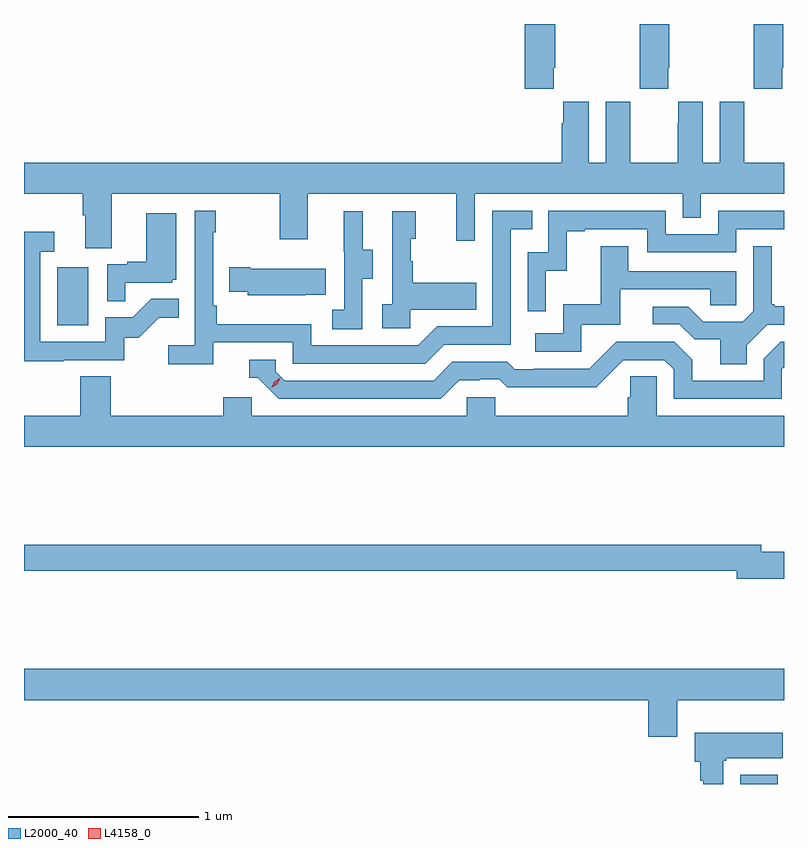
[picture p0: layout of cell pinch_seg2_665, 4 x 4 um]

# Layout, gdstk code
import gdstk
lib = gdstk.Library(unit=1e-6, precision=1e-09)
def R(c, l, rs):  # rectangles x0, y0, x1, y1
    for r in rs: c.add(gdstk.rectangle(r[:2], r[2:], *l))
def P(c, l, *ps):  # polygons
    for p in ps: c.add(gdstk.Polygon(p, *l))
L2000_40 = (2000, 40)
L4158_0 = (4158, 0)

pinch_seg2_665 = lib.new_cell('pinch_seg2_665')
R(pinch_seg2_665, L2000_40, [(1080.224,587.254,1080.421,587.302), (1076.63,589.668,1076.794,589.975)])
P(pinch_seg2_665, L2000_40, [(1079.243,591.025),(1079.25,591.025),(1079.25,591.254),(1079.09,591.254),(1079.09,590.913),(1079.243,590.913)],
  [(1079.847,591.025),(1079.85,591.025),(1079.85,591.254),(1079.695,591.254),(1079.695,591.025),(1079.697,591.025),(1079.697,590.913),(1079.847,590.913)],
  [(1080.447,591.025),(1080.45,591.025),(1080.45,591.254),(1080.295,591.254),(1080.295,591.025),(1080.297,591.025),(1080.297,590.913),(1080.447,590.913)],
  [(1076.917,590.36),(1077.802,590.36),(1077.802,590.121),(1077.949,590.121),(1077.949,590.36),(1078.73,590.36),(1078.73,590.112),(1078.827,590.112),(1078.827,590.36),(1079.922,590.36),(1079.922,590.233),(1080.018,590.233),(1080.018,590.36),(1080.455,590.36),(1080.455,590.524),(1080.247,590.524),(1080.247,590.732),(1080.246,590.732),(1080.246,590.845),(1080.116,590.845),(1080.116,590.524),(1080.028,590.524),(1080.028,590.845),(1079.898,590.845),(1079.898,590.732),(1079.897,590.732),(1079.897,590.524),(1079.647,590.524),(1079.647,590.732),(1079.646,590.732),(1079.646,590.845),(1079.516,590.845),(1079.516,590.524),(1079.428,590.524),(1079.428,590.845),(1079.294,590.845),(1079.294,590.732),(1079.285,590.732),(1079.285,590.524),(1076.455,590.524),(1076.455,590.36),(1076.765,590.36),(1076.765,590.248),(1076.777,590.248),(1076.777,590.074),(1076.917,590.074)],
  [(1077.452,589.578),(1077.87,589.578),(1077.87,589.467),(1078.567,589.467),(1078.666,589.566),(1079.016,589.566),(1079.016,590.175),(1079.129,590.175),(1079.129,590.271),(1078.92,590.271),(1078.92,589.662),(1078.629,589.662),(1078.53,589.563),(1077.966,589.563),(1077.966,589.675),(1077.47,589.675),(1077.47,589.771),(1077.45,589.771),(1077.45,590.159),(1077.463,590.159),(1077.463,590.272),(1077.354,590.272),(1077.354,589.564),(1077.213,589.564),(1077.213,589.462),(1077.452,589.462)],
  [(1079.202,589.955),(1079.312,589.955),(1079.312,590.163),(1079.407,590.163),(1079.407,590.175),(1079.736,590.175),(1079.736,590.052),(1080.204,590.052),(1080.204,590.175),(1080.455,590.175),(1080.455,590.271),(1080.108,590.271),(1080.108,590.148),(1079.832,590.148),(1079.832,590.271),(1079.214,590.271),(1079.214,590.052),(1079.106,590.052),(1079.106,589.743),(1079.202,589.743)],
  [(1078.236,589.912),(1078.291,589.912),(1078.291,590.067),(1078.237,590.067),(1078.237,590.269),(1078.139,590.269),(1078.139,590.055),(1078.14,590.055),(1078.14,589.751),(1078.077,589.751),(1078.077,589.648),(1078.236,589.648)],
  [(1078.488,589.751),(1078.835,589.751),(1078.835,589.891),(1078.501,589.891),(1078.501,590.006),(1078.491,590.006),(1078.491,590.124),(1078.516,590.124),(1078.516,590.269),(1078.392,590.269),(1078.392,589.778),(1078.341,589.778),(1078.341,589.653),(1078.488,589.653)],
  [(1076.987,589.893),(1077.234,589.893),(1077.234,589.908),(1077.256,589.908),(1077.256,590.257),(1077.098,590.257),(1077.098,590.002),(1076.999,590.002),(1076.999,589.989),(1076.892,589.989),(1076.892,589.795),(1076.987,589.795)],
  [(1076.663,589.485),(1076.982,589.485),(1076.982,589.602),(1077.058,589.602),(1077.165,589.709),(1077.269,589.709),(1077.269,589.808),(1077.125,589.808),(1077.027,589.71),(1076.883,589.71),(1076.883,589.581),(1076.541,589.581),(1076.541,590.055),(1076.614,590.055),(1076.614,590.161),(1076.455,590.161),(1076.455,589.48),(1076.663,589.48)],
  [(1079.388,589.671),(1079.593,589.671),(1079.593,589.857),(1080.067,589.857),(1080.067,589.773),(1080.204,589.773),(1080.204,589.953),(1079.635,589.953),(1079.635,590.083),(1079.491,590.083),(1079.491,589.78),(1079.292,589.78),(1079.292,589.626),(1079.145,589.626),(1079.145,589.53),(1079.388,589.53)],
  [(1080.259,589.564),(1080.366,589.671),(1080.455,589.671),(1080.455,589.768),(1080.403,589.768),(1080.403,589.78),(1080.391,589.78),(1080.391,590.083),(1080.294,590.083),(1080.294,589.743),(1080.237,589.686),(1080.031,589.686),(1079.95,589.767),(1079.763,589.767),(1079.763,589.674),(1079.904,589.674),(1079.984,589.594),(1080.119,589.594),(1080.119,589.462),(1080.259,589.462)],
  [(1077.935,589.829),(1078.043,589.829),(1078.043,589.966),(1077.646,589.966),(1077.646,589.974),(1077.535,589.974),(1077.535,589.844),(1077.633,589.844),(1077.633,589.826),(1077.935,589.826)],
  [(1078.747,589.38),(1078.854,589.38),(1078.854,589.383),(1078.957,589.383),(1078.999,589.341),(1079.232,589.341),(1079.232,589.343),(1079.468,589.343),(1079.61,589.485),(1079.826,589.485),(1079.874,589.437),(1079.874,589.281),(1080.444,589.281),(1080.444,589.437),(1080.455,589.448),(1080.455,589.581),(1080.438,589.581),(1080.348,589.491),(1080.348,589.377),(1079.971,589.377),(1079.971,589.487),(1079.877,589.581),(1079.571,589.581),(1079.43,589.44),(1079.137,589.44),(1079.137,589.437),(1079.038,589.437),(1078.999,589.476),(1078.71,589.476),(1078.611,589.377),(1077.828,589.377),(1077.78,589.425),(1077.78,589.488),(1077.641,589.488),(1077.641,589.392),(1077.684,589.392),(1077.795,589.281),(1078.648,589.281)],
  [(1080.455,589.192),(1079.784,589.192),(1079.784,589.4),(1079.647,589.4),(1079.647,589.29),(1079.633,589.29),(1079.633,589.192),(1078.935,589.192),(1078.935,589.29),(1078.785,589.29),(1078.785,589.192),(1077.654,589.192),(1077.654,589.29),(1077.503,589.29),(1077.503,589.192),(1076.912,589.192),(1076.912,589.4),(1076.752,589.4),(1076.752,589.192),(1076.455,589.192),(1076.455,589.028),(1080.455,589.028)],
  [(1080.455,588.476),(1080.334,588.476),(1080.334,588.512),(1076.455,588.512),(1076.455,588.376),(1080.206,588.376),(1080.206,588.334),(1080.455,588.334)],
  [(1079.893,587.696),(1080.455,587.696),(1080.455,587.86),(1076.455,587.86),(1076.455,587.696),(1079.741,587.696),(1079.741,587.502),(1079.893,587.502)],
  [(1080.136,587.377),(1080.15,587.377),(1080.15,587.39),(1080.448,587.39),(1080.448,587.524),(1079.984,587.524),(1079.984,587.37),(1080.014,587.37),(1080.014,587.27),(1080.029,587.27),(1080.029,587.254),(1080.136,587.254)])
P(pinch_seg2_665, L4158_0, [(1077.757,589.339),(1077.757,589.339),(1077.773,589.371),(1077.804,589.391),(1077.804,589.391),(1077.804,589.39),(1077.788,589.358),(1077.757,589.339)])

lib.write_gds('pinch_seg2_665.gds')
